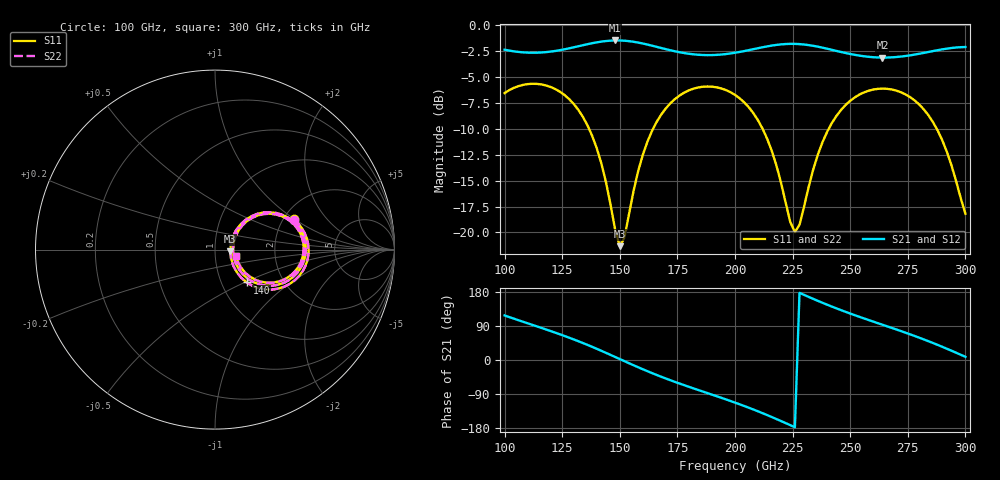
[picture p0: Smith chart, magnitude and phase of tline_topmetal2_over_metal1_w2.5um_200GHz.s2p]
#  GHZ S DB R 50
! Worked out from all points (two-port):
!   101 points, 100 GHz to 300 GHz, reference 50 ohm
!   highest |S21| = -1.47 dB at 148 GHz (marker M1); lowest = -3.1 dB at 264 GHz (marker M2)
!   |S21| within 3 dB of the highest: start of sweep to end of sweep
!   lowest |S11| = -21.3 dB at 150 GHz (marker M3), VSWR 1.19, Z = 59.3 - j1.07 ohm
!   |S11| at or under -10 dB: 136.6 GHz to 164.4 GHz (27.8 GHz wide, 18.5 % of centre); 212 GHz to 240.7 GHz (28.7 GHz wide, 12.7 % of centre); 287.6 GHz to end of sweep
!   |S22| runs from -21.4 to -5.7 dB; largest |S21 - S12| = 8.8e-14
!   S11 on the Smith chart (normalised r, x): 100 GHz: 2.27, +0.98; 140 GHz: 1.32, -0.52; 300 GHz: 1.26, -0.09
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100  -6.55 20.9  -2.37 117.6  -2.37 117.6  -6.55 20.8
116  -5.72 -6.8  -2.63 84.6  -2.63 84.6  -5.72 -6.9
126  -6.74 -24.2  -2.33 63.4  -2.33 63.4  -6.74 -24.3
134  -8.85 -38.0  -1.93 44.7  -1.93 44.7  -8.86 -38.1
140  -11.88 -45.9  -1.66 29.5  -1.66 29.5  -11.89 -46.1
148  -19.75 -29.0  -1.47 7.9  -1.47 7.9  -19.80 -29.3
150  -21.32 -6.0  -1.48 2.4  -1.48 2.4  -21.40 -6.1
152  -20.50 19.9  -1.50 -3.1  -1.50 -3.1  -20.57 20.0
160  -12.50 44.2  -1.77 -24.5  -1.77 -24.5  -12.51 44.3
168  -8.62 34.2  -2.20 -44.2  -2.20 -44.2  -8.62 34.2
184  -6.01 7.4  -2.85 -79.1  -2.85 -79.1  -6.01 7.3
200  -6.72 -19.3  -2.66 -112.5  -2.66 -112.5  -6.73 -19.4
214  -10.98 -40.1  -2.04 -145.5  -2.04 -145.5  -10.98 -40.2
226  -19.97 -1.7  -1.80 -177.4  -1.80 -177.4  -19.96 -1.8
234  -13.89 41.6  -1.99 161.2  -1.99 161.2  -13.88 41.4
246  -8.19 30.3  -2.59 131.6  -2.59 131.6  -8.18 30.2
264  -6.12 1.4  -3.12 93.1  -3.12 93.1  -6.12 1.2
268  -6.20 -5.0  -3.10 84.8  -3.10 84.8  -6.20 -5.2
278  -7.26 -21.1  -2.84 63.3  -2.84 63.3  -7.27 -21.3
286  -9.38 -32.8  -2.49 44.7  -2.49 44.7  -9.38 -33.0
292  -12.24 -37.8  -2.26 29.6  -2.26 29.6  -12.24 -38.1
300  -18.19 -17.0  -2.11 8.5  -2.11 8.5  -18.21 -17.3
